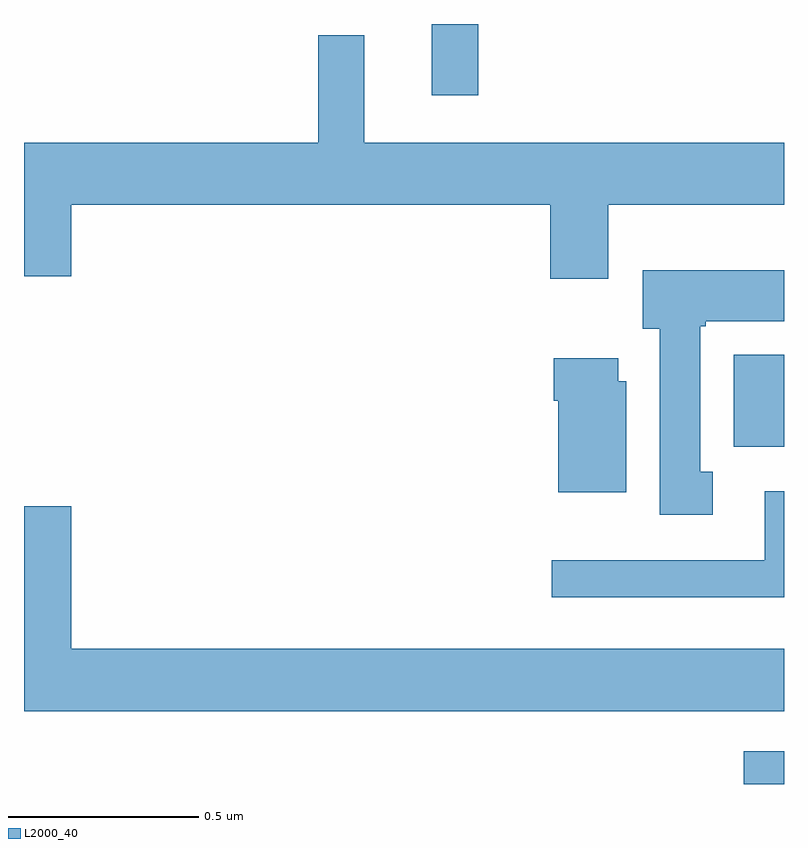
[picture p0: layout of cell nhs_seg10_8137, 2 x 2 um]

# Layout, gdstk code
import gdstk
lib = gdstk.Library(unit=1e-6, precision=1e-09)
def R(c, l, rs):  # rectangles x0, y0, x1, y1
    for r in rs: c.add(gdstk.rectangle(r[:2], r[2:], *l))
def P(c, l, *ps):  # polygons
    for p in ps: c.add(gdstk.Polygon(p, *l))
L2000_40 = (2000, 40)

nhs_seg10_8137 = lib.new_cell('nhs_seg10_8137')
R(nhs_seg10_8137, L2000_40, [(214.894,1257.5,215,1257.586), (214.868,1258.388,215,1258.63), (214.073,1259.313,214.195,1259.5)])
P(nhs_seg10_8137, L2000_40, [(214.537,1259.024),(215,1259.024),(215,1259.188),(213.895,1259.188),(213.895,1259.47),(213.774,1259.47),(213.774,1259.188),(213,1259.188),(213,1258.836),(213.124,1258.836),(213.124,1259.024),(214.385,1259.024),(214.385,1258.83),(214.537,1258.83)],
  [(214.813,1258.322),(214.78,1258.322),(214.78,1258.705),(214.794,1258.705),(214.794,1258.718),(215,1258.718),(215,1258.852),(214.628,1258.852),(214.628,1258.698),(214.673,1258.698),(214.673,1258.209),(214.813,1258.209)],
  [(214.585,1258.56),(214.564,1258.56),(214.564,1258.621),(214.394,1258.621),(214.394,1258.508),(214.406,1258.508),(214.406,1258.268),(214.585,1258.268)],
  [(215,1258.27),(214.949,1258.27),(214.949,1258.089),(214.389,1258.089),(214.389,1257.992),(215,1257.992)],
  [(215,1257.856),(213.124,1257.856),(213.124,1258.231),(213,1258.231),(213,1257.692),(215,1257.692)])

lib.write_gds('nhs_seg10_8137.gds')
